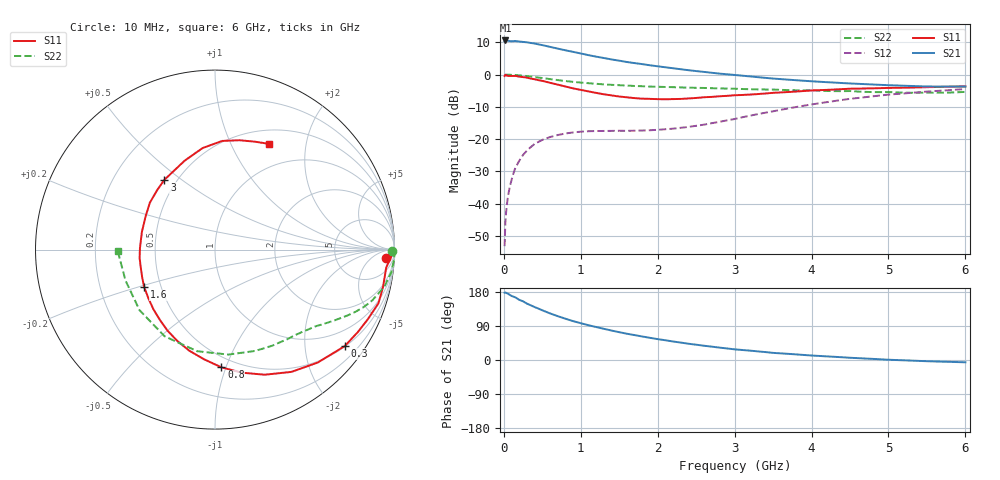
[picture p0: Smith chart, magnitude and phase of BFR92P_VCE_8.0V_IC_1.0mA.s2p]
! Infineon Technologies  Discrete & RF Semiconductors
! BFR92P
! VCE =  8.0 V,  IC =  1.0 mA
! Common Emitter S-Parameters:  Apr 2014
# GHz  S  MA  R  50
!  f  S11  S21  S12  S22
! GHz  MAG  ANG  MAG  ANG  MAG  ANG  MAG  ANG
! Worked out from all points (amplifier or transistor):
!   77 points, 10 MHz to 6 GHz, reference 50 ohm
!   highest |S21| = 10.6 dB at 20 MHz (marker M1)
!   |S21| within 3 dB of that: start of sweep to 790.4 MHz
!   unconditionally stable (mu >= 1): 1.651 GHz to 3.172 GHz
!   at 130 MHz: K = 0.08, MSG = 20.3 dB, |S12| = -30.2 dB
!   at 2.2 GHz: K = 1.16, MAG = 6.9 dB, |S12| = -16.7 dB
!   at 6 GHz: K = 0.93, MSG = 0.4 dB, |S12| = -4.4 dB
!   S11 on the Smith chart (normalised r, x): 10 MHz: 20, -21; 300 MHz: 0.52, -2.94; 800 MHz: 0.42, -0.96; 1.6 GHz: 0.40, -0.21; 3 GHz: 0.43, +0.43; 6 GHz: 0.67, +1.41
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0.01  0.9539 -2.8  3.278 177.6  0.0022 85.0  0.9875 -0.6
0.02  0.9964 -0.5  3.397 178.2  0.0052 89.7  1 -1.0
0.05  0.959 -6.0  3.361 175.2  0.012 88.8  1 -2.3
0.12  0.9577 -14.8  3.313 167.5  0.0283 80.1  0.993 -5.8
0.15  0.9585 -18.2  3.331 165.2  0.0359 78.6  0.991 -7.3
0.2  0.9351 -24.7  3.274 158.8  0.0463 74.5  0.9773 -9.6
0.25  0.9192 -29.9  3.221 154.8  0.0572 72.1  0.9682 -11.9
0.3  0.901 -36.6  3.182 148.8  0.0667 67.6  0.9513 -14.0
0.4  0.8508 -47.7  3.049 139.7  0.0846 61.6  0.9208 -17.9
0.5  0.8034 -58.0  2.878 131.2  0.0977 56.1  0.8884 -21.1
0.6  0.7502 -68.3  2.703 123.0  0.1081 51.4  0.8559 -23.9
0.8  0.6568 -86.9  2.391 109.0  0.1227 43.8  0.7985 -28.5
0.9  0.6146 -95.6  2.262 102.6  0.1275 41.3  0.7755 -30.5
1.1  0.5511 -112.3  2.012 91.8  0.1331 37.7  0.7391 -33.8
1.4  0.4776 -136.0  1.724 77.7  0.1347 35.5  0.6971 -38.4
1.6  0.4465 -152.1  1.574 69.3  0.1349 36.3  0.679 -41.4
2.1  0.4162 172.5  1.304 52.1  0.1429 43.8  0.6455 -49.4
3  0.4805 125.9  0.992 28.1  0.2059 56.9  0.6071 -68.5
3.1  0.4855 122.2  0.966 26.4  0.2189 56.8  0.6006 -71.3
4.1  0.5758 94.7  0.779 10.7  0.3608 51.3  0.566 -103.8
5.1  0.6267 75.8  0.682 -0.1  0.5021 35.2  0.5318 -145.1
6  0.6608 63.1  0.655 -6.1  0.6004 19.7  0.5415 -179.0
